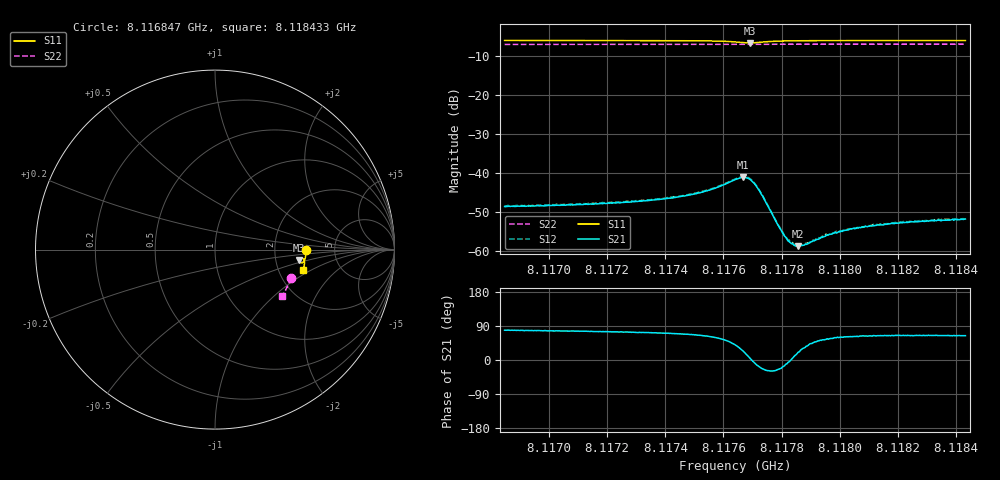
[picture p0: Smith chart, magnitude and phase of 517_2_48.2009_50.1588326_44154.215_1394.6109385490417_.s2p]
#  HZ  S  RI  R  50.00
! Rohde & Schwarz Vector Network Analyzer
! Rohde-Schwarz,ZNB20-2Port,1311601062101988,3.16
! Created: UTC 3/20/2024, 11:59:13 AM
! freq[Hz]  re:S11  im:S11  re:S21  im:S21  re:S12  im:S12  re:S22  im:S22
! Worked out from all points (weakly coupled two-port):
!   401 points, 8.116847 GHz to 8.118433 GHz, reference 50 ohm
!   highest |S21| = -41.06 dB at 8.117668 GHz (marker M1); lowest = -58.7 dB at 8.117858 GHz (marker M2)
!   lowest |S11| = -6.5 dB at 8.117691 GHz (marker M3), VSWR 2.78, Z = 135 - j20.2 ohm
!   |S11| at or under -10 dB: nowhere
!   |S22| runs from -6.9 to -6.8 dB; largest |S21 - S12| = 0.00024
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8.1168468e9  0.5068 -0.00394  0.000739 0.00367  0.000799 0.0037  0.4222 -0.1581
8.1171124e9  0.5057 -0.0248  0.000966 0.00385  0.001 0.00394  0.4162 -0.1757
8.1173781e9  0.5029 -0.0471  0.00148 0.00436  0.00153 0.00444  0.4092 -0.1931
8.1174653e9  0.5008 -0.0557  0.0019 0.00474  0.00192 0.00483  0.4067 -0.1985
8.1175248e9  0.4981 -0.0622  0.00243 0.00515  0.00252 0.00525  0.4048 -0.2026
8.1175724e9  0.4942 -0.0683  0.0033 0.00554  0.00341 0.00564  0.4033 -0.2057
8.1176398e9  0.4798 -0.0744  0.00633 0.00536  0.00645 0.00544  0.4006 -0.2098
8.1176676e9  0.4701 -0.0694  0.00811 0.00356  0.00828 0.0036  0.3995 -0.2111
8.1176914e9  0.467 -0.0581  0.00832 0.000676  0.0085 0.000665  0.3989 -0.2119
8.1177072e9  0.4705 -0.0509  0.00727 -0.00098  0.00739 -0.00104  0.3987 -0.2128
8.117727e9  0.4784 -0.0466  0.00533 -0.00195  0.00547 -0.00199  0.3984 -0.2138
8.1177865e9  0.4939 -0.053  0.00199 -0.000938  0.00202 -0.00101  0.3972 -0.2178
8.1178143e9  0.4964 -0.0578  0.00148 -0.000293  0.00153 -0.000394  0.3965 -0.2196
8.1178381e9  0.4977 -0.0613  0.00124 0.000103  0.00129 7.58e-05  0.3958 -0.2213
8.1178579e9  0.4983 -0.064  0.00108 0.000414  0.00113 0.000395  0.3952 -0.2226
8.1178817e9  0.4986 -0.067  0.00102 0.000679  0.00106 0.000674  0.3945 -0.2241
8.1179055e9  0.4987 -0.0697  0.000961 0.000921  0.000962 0.000951  0.3936 -0.2257
8.1179451e9  0.4989 -0.0741  0.000916 0.00123  0.000925 0.00124  0.3924 -0.2281
8.1179927e9  0.4985 -0.0788  0.000861 0.00151  0.000905 0.00153  0.3908 -0.2312
8.1180403e9  0.4981 -0.0832  0.000926 0.0017  0.000935 0.00169  0.3893 -0.2341
8.1181712e9  0.4966 -0.0942  0.000959 0.00203  0.000984 0.00208  0.3847 -0.2421
8.1184329e9  0.4922 -0.1145  0.00113 0.00233  0.00115 0.00234  0.3752 -0.2579
